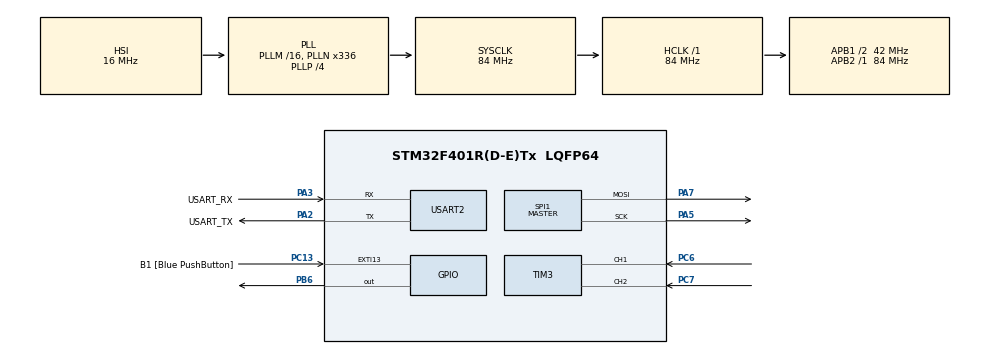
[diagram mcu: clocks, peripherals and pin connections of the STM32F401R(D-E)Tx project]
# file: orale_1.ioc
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Dma.Request0=USART2_TX
Dma.Request1=SPI1_TX
Dma.SPI1_TX.1.Direction=DMA_MEMORY_TO_PERIPH
Dma.SPI1_TX.1.FIFOMode=DMA_FIFOMODE_DISABLE
Dma.SPI1_TX.1.Instance=DMA2_Stream3
Dma.SPI1_TX.1.MemDataAlignment=DMA_MDATAALIGN_BYTE
Dma.SPI1_TX.1.MemInc=DMA_MINC_ENABLE
Dma.SPI1_TX.1.Mode=DMA_NORMAL
Dma.SPI1_TX.1.PeriphDataAlignment=DMA_PDATAALIGN_BYTE
Dma.SPI1_TX.1.PeriphInc=DMA_PINC_DISABLE
Dma.SPI1_TX.1.Priority=DMA_PRIORITY_LOW
Dma.USART2_TX.0.Direction=DMA_MEMORY_TO_PERIPH
Dma.USART2_TX.0.FIFOMode=DMA_FIFOMODE_DISABLE
Dma.USART2_TX.0.Instance=DMA1_Stream6
Dma.USART2_TX.0.MemDataAlignment=DMA_MDATAALIGN_BYTE
Dma.USART2_TX.0.MemInc=DMA_MINC_ENABLE
Dma.USART2_TX.0.Mode=DMA_NORMAL
Dma.USART2_TX.0.PeriphDataAlignment=DMA_PDATAALIGN_BYTE
Dma.USART2_TX.0.PeriphInc=DMA_PINC_DISABLE
Dma.USART2_TX.0.Priority=DMA_PRIORITY_LOW
Mcu.Family=STM32F4
Mcu.Name=STM32F401R(D-E)Tx
Mcu.Package=LQFP64
NVIC.DMA1_Stream6_IRQn=true\:0\:0\:false\:false\:true\:false\:true\:true
NVIC.DMA2_Stream3_IRQn=true\:0\:0\:false\:false\:true\:false\:true\:true
NVIC.PriorityGroup=NVIC_PRIORITYGROUP_0
NVIC.SPI1_IRQn=true\:0\:0\:false\:false\:true\:true\:true\:true
NVIC.TIM1_UP_TIM10_IRQn=true\:0\:0\:false\:false\:true\:true\:true\:true
NVIC.TIM2_IRQn=true\:0\:0\:false\:false\:true\:true\:true\:true
NVIC.USART2_IRQn=true\:0\:0\:false\:false\:true\:true\:true\:true
PA13.GPIO_Label=TMS
PA13.Mode=Serial_Wire
PA13.Signal=SYS_JTMS-SWDIO
PA14.GPIO_Label=TCK
PA14.Mode=Serial_Wire
PA14.Signal=SYS_JTCK-SWCLK
PA2.GPIO_Label=USART_TX
PA2.GPIO_Mode=GPIO_MODE_AF_PP
PA2.GPIO_PuPd=GPIO_NOPULL
PA2.GPIO_Speed=GPIO_SPEED_FREQ_LOW
PA2.Mode=Asynchronous
PA2.Signal=USART2_TX
PA3.GPIO_Label=USART_RX
PA3.GPIO_Mode=GPIO_MODE_AF_PP
PA3.GPIO_PuPd=GPIO_NOPULL
PA3.GPIO_Speed=GPIO_SPEED_FREQ_LOW
PA3.Mode=Asynchronous
PA3.Signal=USART2_RX
PA5.Mode=TX_Only_Simplex_Unidirect_Master
PA5.Signal=SPI1_SCK
PA7.Mode=TX_Only_Simplex_Unidirect_Master
PA7.Signal=SPI1_MOSI
PB3.GPIO_Label=SWO
PB3.Signal=SYS_JTDO-SWO
PB6.Signal=GPIO_Output
PC13-ANTI_TAMP.GPIO_Label=B1 [Blue PushButton]
PC13-ANTI_TAMP.GPIO_ModeDefaultEXTI=GPIO_MODE_IT_FALLING
PC13-ANTI_TAMP.GPIO_PuPd=GPIO_NOPULL
PC13-ANTI_TAMP.Signal=GPXTI13
PC14-OSC32_IN.Mode=LSE-External-Oscillator
PC14-OSC32_IN.Signal=RCC_OSC32_IN
PC15-OSC32_OUT.Mode=LSE-External-Oscillator
PC15-OSC32_OUT.Signal=RCC_OSC32_OUT
PC6.Signal=S_TIM3_CH1
PC7.Signal=S_TIM3_CH2
PH0\ -\ OSC_IN.Mode=HSE-External-Clock-Source
PH0\ -\ OSC_IN.Signal=RCC_OSC_IN
PH1\ -\ OSC_OUT.Mode=HSE-External-Clock-Source
PH1\ -\ OSC_OUT.Signal=RCC_OSC_OUT
ProjectManager.HeapSize=0x200
ProjectManager.StackSize=0x400
ProjectManager.TargetToolchain=STM32CubeIDE
RCC.48MHZClocksFreq_Value=48000000
RCC.AHBFreq_Value=84000000
RCC.APB1CLKDivider=RCC_HCLK_DIV2
RCC.APB1Freq_Value=42000000
RCC.APB1TimFreq_Value=84000000
RCC.APB2Freq_Value=84000000
RCC.APB2TimFreq_Value=84000000
RCC.CortexFreq_Value=84000000
RCC.HCLKFreq_Value=84000000
RCC.HSE_VALUE=8000000
RCC.HSI_VALUE=16000000
RCC.PLLN=336
RCC.PLLP=RCC_PLLP_DIV4
RCC.PLLQ=7
RCC.SYSCLKFreq_VALUE=84000000
RCC.SYSCLKSource=RCC_SYSCLKSOURCE_PLLCLK
RCC.VCOOutputFreq_Value=336000000
SH.S_TIM3_CH1.0=TIM3_CH1,Encoder_Interface
SH.S_TIM3_CH2.0=TIM3_CH2,Encoder_Interface
SPI1.BaudRatePrescaler=SPI_BAUDRATEPRESCALER_4
SPI1.Direction=SPI_DIRECTION_2LINES
SPI1.Mode=SPI_MODE_MASTER
SPI1.VirtualType=VM_MASTER
TIM1.Period=10000-1
TIM1.Prescaler=8400-1
TIM2.Period=40
TIM2.Prescaler=8400
TIM3.ClockDivision=TIM_CLOCKDIVISION_DIV4
TIM3.IC1Filter=15
TIM3.IC2Filter=15
TIM3.IC2Polarity=TIM_ICPOLARITY_FALLING
USART2.VirtualMode=VM_ASYNC
VP_TIM1_VS_ClockSourceINT.Mode=Internal
VP_TIM2_VS_ClockSourceINT.Mode=Internal
board=NUCLEO-F401RE

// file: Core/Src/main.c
/* USER CODE BEGIN Header */
/**
 ******************************************************************************
 * @file           : main.c
 * @brief          : Main program body
 ******************************************************************************
 * @attention
 *
 * Copyright (c) 2023 STMicroelectronics.
 * All rights reserved.
 *
 * This software is licensed under terms that can be found in the LICENSE file
 * in the root directory of this software component.
 * If no LICENSE file comes with this software, it is provided AS-IS.
 *
 ******************************************************************************
 */
/* USER CODE END Header */
#include "main.h"

/* USER CODE BEGIN Includes */
#include <string.h>
#include <stdio.h>
/* USER CODE END Includes */

SPI_HandleTypeDef hspi1;
DMA_HandleTypeDef hdma_spi1_tx;

TIM_HandleTypeDef htim1;
TIM_HandleTypeDef htim2;
TIM_HandleTypeDef htim3;

UART_HandleTypeDef huart2;
DMA_HandleTypeDef hdma_usart2_tx;

/* USER CODE BEGIN PV */
int16_t delta;
/* USER CODE END PV */

void SystemClock_Config(void);
static void MX_GPIO_Init(void);
static void MX_DMA_Init(void);
static void MX_USART2_UART_Init(void);
static void MX_TIM3_Init(void);
static void MX_TIM1_Init(void);
static void MX_SPI1_Init(void);
static void MX_TIM2_Init(void);

/* USER CODE BEGIN 0 */

void HAL_TIM_PeriodElapsedCallback(TIM_HandleTypeDef *htim) {
	if (htim == &htim1) {
		delta = __HAL_TIM_GET_COUNTER(&htim3);
		__HAL_TIM_SET_COUNTER(&htim3, 0);
	} else if (htim == &htim2){

#define N_CHARS 2
	static uint8_t data[N_CHARS][5][2] = {
			//+
			{{8, 16},
			{ 8, 8 },
			{ 127, 4 },
			{ 8, 2 },
			{ 8, 1 }},
			//-
			{{ 8, 16 },
			{ 8, 8 },
			{ 8, 4 },
			{ 8, 2 },
			{ 8, 1 }},

	};

	//static int letter = 0;

	/*if(htim == &htim3){
		letter = (letter+1) % N_CHARS;
	}*/
		static int idx = 0;
		if(delta >= 0)
			HAL_SPI_Transmit_DMA(&hspi1, data[0][idx], 2);
		else
			HAL_SPI_Transmit_DMA(&hspi1, data[1][idx], 2);
		idx = (idx + 1) % 5;

	}
}

void HAL_SPI_TxCpltCallback (SPI_HandleTypeDef * hspi){
	HAL_GPIO_TogglePin(GPIOB, GPIO_PIN_6);
	HAL_GPIO_TogglePin(GPIOB, GPIO_PIN_6);
}

/* USER CODE END 0 */

int main(void)
{

  /* MCU Configuration--------------------------------------------------------*/

  /* Reset of all peripherals, Initializes the Flash interface and the Systick. */
  HAL_Init();

  /* Configure the system clock */
  SystemClock_Config();

  /* Initialize all configured peripherals */
  MX_GPIO_Init();
  MX_DMA_Init();
  MX_USART2_UART_Init();
  MX_TIM3_Init();
  MX_TIM1_Init();
  MX_SPI1_Init();
  MX_TIM2_Init();
  /* USER CODE BEGIN 2 */
	HAL_TIM_Encoder_Start_IT(&htim3, TIM_CHANNEL_ALL);
	HAL_TIM_Base_Start_IT(&htim1);
	HAL_TIM_Base_Start_IT(&htim2);

  /* USER CODE END 2 */

  /* Infinite loop */
	while (1) {

	}
}

void SystemClock_Config(void)
{
  RCC_OscInitTypeDef RCC_OscInitStruct = {0};
  RCC_ClkInitTypeDef RCC_ClkInitStruct = {0};

  /** Configure the main internal regulator output voltage
  */
  __HAL_RCC_PWR_CLK_ENABLE();
  __HAL_PWR_VOLTAGESCALING_CONFIG(PWR_REGULATOR_VOLTAGE_SCALE2);

  /** Initializes the RCC Oscillators according to the specified parameters
  * in the RCC_OscInitTypeDef structure.
  */
  RCC_OscInitStruct.OscillatorType = RCC_OSCILLATORTYPE_HSI;
  RCC_OscInitStruct.HSIState = RCC_HSI_ON;
  RCC_OscInitStruct.HSICalibrationValue = RCC_HSICALIBRATION_DEFAULT;
  RCC_OscInitStruct.PLL.PLLState = RCC_PLL_ON;
  RCC_OscInitStruct.PLL.PLLSource = RCC_PLLSOURCE_HSI;
  RCC_OscInitStruct.PLL.PLLM = 16;
  RCC_OscInitStruct.PLL.PLLN = 336;
  RCC_OscInitStruct.PLL.PLLP = RCC_PLLP_DIV4;
  RCC_OscInitStruct.PLL.PLLQ = 7;
  if (HAL_RCC_OscConfig(&RCC_OscInitStruct) != HAL_OK)
  {
    Error_Handler();
  }

  /** Initializes the CPU, AHB and APB buses clocks
  */
  RCC_ClkInitStruct.ClockType = RCC_CLOCKTYPE_HCLK|RCC_CLOCKTYPE_SYSCLK
                              |RCC_CLOCKTYPE_PCLK1|RCC_CLOCKTYPE_PCLK2;
  RCC_ClkInitStruct.SYSCLKSource = RCC_SYSCLKSOURCE_PLLCLK;
  RCC_ClkInitStruct.AHBCLKDivider = RCC_SYSCLK_DIV1;
  RCC_ClkInitStruct.APB1CLKDivider = RCC_HCLK_DIV2;
  RCC_ClkInitStruct.APB2CLKDivider = RCC_HCLK_DIV1;

  if (HAL_RCC_ClockConfig(&RCC_ClkInitStruct, FLASH_LATENCY_2) != HAL_OK)
  {
    Error_Handler();
  }
}

static void MX_SPI1_Init(void)
{

  /* SPI1 parameter configuration*/
  hspi1.Instance = SPI1;
  hspi1.Init.Mode = SPI_MODE_MASTER;
  hspi1.Init.Direction = SPI_DIRECTION_2LINES;
  hspi1.Init.DataSize = SPI_DATASIZE_8BIT;
  hspi1.Init.CLKPolarity = SPI_POLARITY_LOW;
  hspi1.Init.CLKPhase = SPI_PHASE_1EDGE;
  hspi1.Init.NSS = SPI_NSS_SOFT;
  hspi1.Init.BaudRatePrescaler = SPI_BAUDRATEPRESCALER_4;
  hspi1.Init.FirstBit = SPI_FIRSTBIT_MSB;
  hspi1.Init.TIMode = SPI_TIMODE_DISABLE;
  hspi1.Init.CRCCalculation = SPI_CRCCALCULATION_DISABLE;
  hspi1.Init.CRCPolynomial = 10;
  if (HAL_SPI_Init(&hspi1) != HAL_OK)
  {
    Error_Handler();
  }

}

static void MX_TIM1_Init(void)
{

  TIM_ClockConfigTypeDef sClockSourceConfig = {0};
  TIM_MasterConfigTypeDef sMasterConfig = {0};

  htim1.Instance = TIM1;
  htim1.Init.Prescaler = 8400-1;
  htim1.Init.CounterMode = TIM_COUNTERMODE_UP;
  htim1.Init.Period = 10000-1;
  htim1.Init.ClockDivision = TIM_CLOCKDIVISION_DIV1;
  htim1.Init.RepetitionCounter = 0;
  htim1.Init.AutoReloadPreload = TIM_AUTORELOAD_PRELOAD_DISABLE;
  if (HAL_TIM_Base_Init(&htim1) != HAL_OK)
  {
    Error_Handler();
  }
  sClockSourceConfig.ClockSource = TIM_CLOCKSOURCE_INTERNAL;
  if (HAL_TIM_ConfigClockSource(&htim1, &sClockSourceConfig) != HAL_OK)
  {
    Error_Handler();
  }
  sMasterConfig.MasterOutputTrigger = TIM_TRGO_RESET;
  sMasterConfig.MasterSlaveMode = TIM_MASTERSLAVEMODE_DISABLE;
  if (HAL_TIMEx_MasterConfigSynchronization(&htim1, &sMasterConfig) != HAL_OK)
  {
    Error_Handler();
  }

}

static void MX_TIM2_Init(void)
{

  TIM_ClockConfigTypeDef sClockSourceConfig = {0};
  TIM_MasterConfigTypeDef sMasterConfig = {0};

  htim2.Instance = TIM2;
  htim2.Init.Prescaler = 8400;
  htim2.Init.CounterMode = TIM_COUNTERMODE_UP;
  htim2.Init.Period = 40;
  htim2.Init.ClockDivision = TIM_CLOCKDIVISION_DIV1;
  htim2.Init.AutoReloadPreload = TIM_AUTORELOAD_PRELOAD_DISABLE;
  if (HAL_TIM_Base_Init(&htim2) != HAL_OK)
  {
    Error_Handler();
  }
  sClockSourceConfig.ClockSource = TIM_CLOCKSOURCE_INTERNAL;
  if (HAL_TIM_ConfigClockSource(&htim2, &sClockSourceConfig) != HAL_OK)
  {
    Error_Handler();
  }
  sMasterConfig.MasterOutputTrigger = TIM_TRGO_RESET;
  sMasterConfig.MasterSlaveMode = TIM_MASTERSLAVEMODE_DISABLE;
  if (HAL_TIMEx_MasterConfigSynchronization(&htim2, &sMasterConfig) != HAL_OK)
  {
    Error_Handler();
  }

}

static void MX_TIM3_Init(void)
{

  TIM_Encoder_InitTypeDef sConfig = {0};
  TIM_MasterConfigTypeDef sMasterConfig = {0};

  htim3.Instance = TIM3;
  htim3.Init.Prescaler = 0;
  htim3.Init.CounterMode = TIM_COUNTERMODE_UP;
  htim3.Init.Period = 65535;
  htim3.Init.ClockDivision = TIM_CLOCKDIVISION_DIV4;
  htim3.Init.AutoReloadPreload = TIM_AUTORELOAD_PRELOAD_DISABLE;
  sConfig.EncoderMode = TIM_ENCODERMODE_TI1;
  sConfig.IC1Polarity = TIM_ICPOLARITY_RISING;
  sConfig.IC1Selection = TIM_ICSELECTION_DIRECTTI;
  sConfig.IC1Prescaler = TIM_ICPSC_DIV1;
  sConfig.IC1Filter = 15;
  sConfig.IC2Polarity = TIM_ICPOLARITY_FALLING;
  sConfig.IC2Selection = TIM_ICSELECTION_DIRECTTI;
  sConfig.IC2Prescaler = TIM_ICPSC_DIV1;
  sConfig.IC2Filter = 15;
  if (HAL_TIM_Encoder_Init(&htim3, &sConfig) != HAL_OK)
  {
    Error_Handler();
  }
  sMasterConfig.MasterOutputTrigger = TIM_TRGO_RESET;
  sMasterConfig.MasterSlaveMode = TIM_MASTERSLAVEMODE_DISABLE;
  if (HAL_TIMEx_MasterConfigSynchronization(&htim3, &sMasterConfig) != HAL_OK)
  {
    Error_Handler();
  }

}

static void MX_USART2_UART_Init(void)
{

  huart2.Instance = USART2;
  huart2.Init.BaudRate = 115200;
  huart2.Init.WordLength = UART_WORDLENGTH_8B;
  huart2.Init.StopBits = UART_STOPBITS_1;
  huart2.Init.Parity = UART_PARITY_NONE;
  huart2.Init.Mode = UART_MODE_TX_RX;
  huart2.Init.HwFlowCtl = UART_HWCONTROL_NONE;
  huart2.Init.OverSampling = UART_OVERSAMPLING_16;
  if (HAL_UART_Init(&huart2) != HAL_OK)
  {
    Error_Handler();
  }

}

static void MX_DMA_Init(void)
{

  /* DMA controller clock enable */
  __HAL_RCC_DMA1_CLK_ENABLE();
  __HAL_RCC_DMA2_CLK_ENABLE();

  /* DMA interrupt init */
  /* DMA1_Stream6_IRQn interrupt configuration */
  HAL_NVIC_SetPriority(DMA1_Stream6_IRQn, 0, 0);
  HAL_NVIC_EnableIRQ(DMA1_Stream6_IRQn);
  /* DMA2_Stream3_IRQn interrupt configuration */
  HAL_NVIC_SetPriority(DMA2_Stream3_IRQn, 0, 0);
  HAL_NVIC_EnableIRQ(DMA2_Stream3_IRQn);

}

static void MX_GPIO_Init(void)
{
  GPIO_InitTypeDef GPIO_InitStruct = {0};

  /* GPIO Ports Clock Enable */
  __HAL_RCC_GPIOC_CLK_ENABLE();
  __HAL_RCC_GPIOH_CLK_ENABLE();
  __HAL_RCC_GPIOA_CLK_ENABLE();
  __HAL_RCC_GPIOB_CLK_ENABLE();

  /*Configure GPIO pin Output Level */
  HAL_GPIO_WritePin(GPIOB, GPIO_PIN_6, GPIO_PIN_RESET);

  /*Configure GPIO pin : B1_Pin */
  GPIO_InitStruct.Pin = B1_Pin;
  GPIO_InitStruct.Mode = GPIO_MODE_IT_FALLING;
  GPIO_InitStruct.Pull = GPIO_NOPULL;
  HAL_GPIO_Init(B1_GPIO_Port, &GPIO_InitStruct);

  /*Configure GPIO pin : PB6 */
  GPIO_InitStruct.Pin = GPIO_PIN_6;
  GPIO_InitStruct.Mode = GPIO_MODE_OUTPUT_PP;
  GPIO_InitStruct.Pull = GPIO_NOPULL;
  GPIO_InitStruct.Speed = GPIO_SPEED_FREQ_LOW;
  HAL_GPIO_Init(GPIOB, &GPIO_InitStruct);

}

void Error_Handler(void)
{
	__disable_irq();
	while (1) {
	}
}
